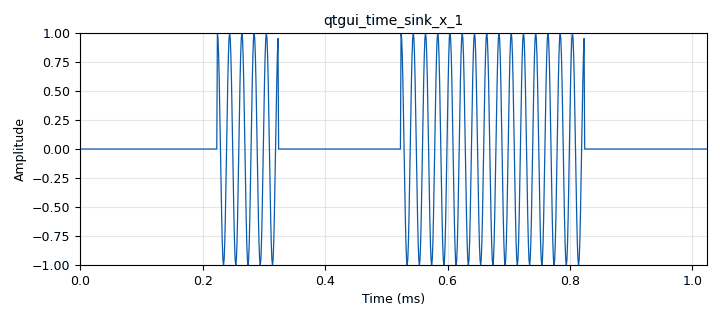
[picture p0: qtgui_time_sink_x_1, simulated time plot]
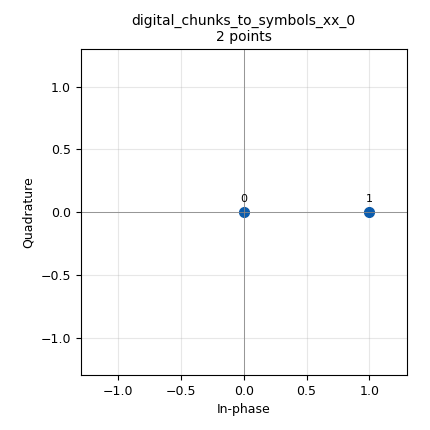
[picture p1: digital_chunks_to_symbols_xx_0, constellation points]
options:
  parameters:
    author: biswa
    generate_options: qt_gui
    id: ASK_Tansmitter
    output_language: python
    title: ask_transmitter
  states: {}

blocks:
- name: freq
  id: variable
  parameters:
    value: '100000000'
  states: {}
- name: samp_rate
  id: variable
  parameters:
    value: '1000000'
  states: {}
- name: volume
  id: variable_qtgui_range
  parameters:
    label: Audio Gain
    start: '0'
    step: '0.100'
    stop: '10'
    value: '1.2'
  states: {}
- name: analog_random_source_x_0
  id: analog_random_source_x
  parameters:
    max: '2'
    min: '0'
    num_samps: '1000'
    repeat: 'True'
    type: byte
  states: {}
- name: analog_sig_source_x_0
  id: analog_sig_source_x
  parameters:
    amp: '1'
    freq: '50000'
    offset: '0'
    phase: '0'
    samp_rate: samp_rate
    type: float
    waveform: analog.GR_COS_WAVE
  states: {}
- name: blocks_float_to_complex_0
  id: blocks_float_to_complex
  parameters: {}
  states: {}
- name: blocks_multiply_xx_1
  id: blocks_multiply_xx
  parameters:
    type: float
  states: {}
- name: blocks_repeat_0
  id: blocks_repeat
  parameters:
    interp: '100'
    type: byte
  states: {}
- name: digital_chunks_to_symbols_xx_0
  id: digital_chunks_to_symbols_xx
  parameters:
    dimension: '1'
    in_type: byte
    out_type: float
    symbol_table: '[0,1]'
  states: {}
- name: iio_pluto_sink_0
  id: iio_pluto_sink
  parameters:
    attenuation1: '-10.0'
    bandwidth: '1000000'
    buffer_size: '32768'
    cyclic: 'False'
    filter_source: '''Auto'''
    frequency: '2400000000'
    samplerate: samp_rate
    type: fc32
    uri: 192.168.2.1
  states: {}
- name: qtgui_time_sink_x_1
  id: qtgui_time_sink_x
  parameters:
    size: '1024'
    srate: samp_rate
    type: float
  states: {}

connections:
- [analog_random_source_x_0, '0', blocks_repeat_0, '0']
- [analog_sig_source_x_0, '0', blocks_multiply_xx_1, '1']
- [blocks_float_to_complex_0, '0', iio_pluto_sink_0, '0']
- [blocks_multiply_xx_1, '0', blocks_float_to_complex_0, '0']
- [blocks_multiply_xx_1, '0', qtgui_time_sink_x_1, '0']
- [blocks_repeat_0, '0', digital_chunks_to_symbols_xx_0, '0']
- [digital_chunks_to_symbols_xx_0, '0', blocks_multiply_xx_1, '0']

metadata:
  file_format: 1
  grc_version: 3.10.12.0
